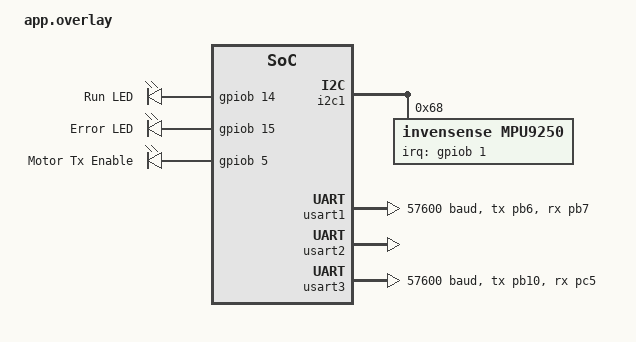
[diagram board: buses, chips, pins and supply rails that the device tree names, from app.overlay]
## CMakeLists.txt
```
cmake_minimum_required(VERSION 3.20.0)
set(BOARD nucleo_f446re)

find_package(Zephyr)
project(doggedness)

file(GLOB DYNAMIXEL src/dynamixel_sdk/*.cpp)
file(GLOB SRC src/*.cpp)
target_sources(app PRIVATE src/main.c  ${DYNAMIXEL} ${SRC})
set(gen_dir ${ZEPHYR_BINARY_DIR}/include/generated/)
```

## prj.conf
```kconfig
# language and library 
CONFIG_NEWLIB_LIBC=y
CONFIG_NEWLIB_LIBC_FLOAT_PRINTF=y
CONFIG_CPLUSPLUS=y
CONFIG_LIB_CPLUSPLUS=y
CONFIG_CBPRINTF_FP_SUPPORT=y

# Logging conf
CONFIG_LOG=y
CONFIG_LOG_MODE_DEFERRED=y
CONFIG_LOG_FUNC_NAME_PREFIX_DBG=y
CONFIG_LOG_FUNC_NAME_PREFIX_ERR=y
CONFIG_LOG_FUNC_NAME_PREFIX_WRN=y

# Console
CONFIG_UART_CONSOLE=y

# Memory
CONFIG_INIT_STACKS=y
CONFIG_MAIN_STACK_SIZE=4096
CONFIG_CODE_DATA_RELOCATION=n

# Kernel
CONFIG_REBOOT=y
CONFIG_EVENTS=y
CONFIG_RING_BUFFER=y

# Sensor 
CONFIG_I2C=y
CONFIG_SENSOR=y
CONFIG_MPU9250=y

# UART
CONFIG_SERIAL=y
CONFIG_UART_USE_RUNTIME_CONFIGURE=y
CONFIG_DMA=y
CONFIG_UART_ASYNC_API=y
```

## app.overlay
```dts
&dma1 {
    status="okay";
};

&dma2 {
    status="okay";
};

&i2c1 {
    status = "okay";
    
    mpu9250@68 {
        compatible = "invensense,mpu9250";
        reg = <0x68>;
        irq-gpios = <&gpiob 1 GPIO_ACTIVE_HIGH>;
        status = "okay";
        gyro-sr-div = <0>;
        gyro-dlpf = <250>;
        gyro-fs = <250>;
        accel-fs = <2>;
        accel-dlpf = "99";
    };
};

&usart1 {
    status = "okay";
    pinctrl-0 = <&usart1_tx_pb6 &usart1_rx_pb7>;
	pinctrl-names = "default";
    current-speed = <57600>;
    dmas = <&dma2 2 4 0x20480 0x03>;
    dma-names = "rx";
};

&usart2 {
    status = "okay";
    dmas = <&dma1 5 4 0x20480 0x03>;
    dma-names = "rx";
};

&usart3 {
    status = "okay";
	pinctrl-0 = <&usart3_tx_pb10 &usart3_rx_pc5>;
	pinctrl-names = "default";
    current-speed = <57600>;
};

&can1 {
	pinctrl-0 = <&can1_rx_pa11 &can1_tx_pa12>;
	pinctrl-names = "default";
	bus-speed = <125000>;
	status = "disabled";
};

/ {
    leds {
        compatible = "gpio-leds";
        run_led: led_pd1 {
            gpios = <&gpiob 14 GPIO_ACTIVE_HIGH>;
            label = "Run LED";
        };
        err_led: led_pd0 {
            gpios = <&gpiob 15 GPIO_ACTIVE_HIGH>;
            label = "Error LED";
        };
        motor_tx_enable: led_pb5 {
            gpios = <&gpiob 5 (GPIO_ACTIVE_HIGH | GPIO_OPEN_DRAIN)>;
            label = "Motor Tx Enable";
        };
    };
};
```

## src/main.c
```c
#include <zephyr/kernel.h>

#include "../inc/app_main.h"

void main(void)
{
    AppMain();
}
```

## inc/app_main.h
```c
#ifndef DOGGEDNESS_APP_MAIN
#define DOGGEDNESS_APP_MAIN

#ifdef __cplusplus
extern "C" {
#endif

void AppMain(void);

#ifdef __cplusplus
}
#endif

#endif
```

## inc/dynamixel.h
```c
#ifndef DOGGEDNESS_DYNAMIXEL_CONTROLLER
#define DOGGEDNESS_DYNAMIXEL_CONTROLLER

#include "dynamixel_sdk/dynamixel_sdk.h"

namespace Doggedness {
class DynamixelController {
 public:
  enum class OperatingModeValue : uint8_t {
    Current = 0,
    Velocity = 1,
    Position = 3,
    ExtendedPosition = 4,
    CurrentPosition = 5,
    PWM = 16,
  };

  enum Address : uint16_t {
    ID = 7,
    OperatingMode = 11,
    TorqueEnable = 64,
    GoalPosition = 116,
  };

  DynamixelController(dynamixel::PortHandler*, dynamixel::PacketHandler*);
  int SetOperatingMode(uint8_t id, OperatingModeValue mode);
  int SetTorque(uint8_t id, bool enable);
  int SetGoalPosition(uint8_t id, double degree);
  int SetID(uint8_t origin, uint8_t target);

 private:
  dynamixel::PortHandler* port_handler_;
  dynamixel::PacketHandler* packet_handler_;
  void LogError(int comm_ret, uint8_t motor_err);
};
};  // namespace Doggedness

#endif
```

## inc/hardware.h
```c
#ifndef DOGGEDNESS_HARDWARE
#define DOGGEDNESS_HARDWARE

/* zephyr device and driver */
#include <zephyr/device.h>
#include <zephyr/drivers/gpio.h>
#include <zephyr/drivers/sensor.h>
#include <zephyr/sys/ring_buffer.h>

/* std headers */
#include <array>

namespace Doggedness {
namespace hardware {

extern const struct gpio_dt_spec run_led, err_led, tx_enable;
extern const struct device *imu, *motor_uart, *telemetry_uart, *console_uart;
extern struct ring_buf jetson_uart_rx_buf;

int CheckHardware();
int InitHardware();
int ReadIMU(std::array<double, 3> &accel, std::array<double, 3> &gyro, std::array<double, 3> &magn);

};  // namespace hardware
};  // namespace Doggedness

#endif
```

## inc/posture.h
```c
#ifndef DOGGEDNESS_POSTURE
#define DOGGEDNESS_POSTURES

#include <array>

//=====================================================================================================
// MahonyAHRS is from below with GPLv2
//=====================================================================================================
//
// Madgwick's implementation of Mayhony's AHRS algorithm.
// See: http://www.x-io.co.uk/open_source_ahrs_and_imu_algorithms
//
// Date			Author			Notes
// 29/09/2011	SOH Madgwick    Initial release
// 02/10/2011	SOH Madgwick	Optimised for reduced CPU load
//
//=====================================================================================================

namespace Doggedness {
namespace posture {
class MahonyAHRS {
 private:
  float dt_;
  float twoKp_, twoKi_;  // 2 * P, I gain
  std::array<float, 4> q_;  // quaternion of sensor frame relative to auxiliary frame
  std::array<float, 3> integralFB_;  // integral error terms scaled by Ki
  static float invSqrt(float x);

 public:
  MahonyAHRS(float dt, float Kp = 0.5, float Ki = 0.0);
  void Update(float gx, float gy, float gz, float ax, float ay, float az);
  void Update(float gx, float gy, float gz, float ax, float ay, float az,
              float mx, float my, float mz);
  std::array<float, 4> GetQuaternion();
  std::array<double, 3> GetEuler();
};
};  // namespace posture
};  // namespace RbfpidBalbot

#endif
```

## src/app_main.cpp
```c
#include "../inc/app_main.h"

#include <stdio.h>
#include <stdlib.h>
#include <zephyr/drivers/uart.h>
#include <zephyr/kernel.h>
#include <zephyr/logging/log.h>
#include <zephyr/sys/ring_buffer.h>

#include <vector>

#include "../inc/posture.h"
#include "../inc/dynamixel.h"
#include "../inc/dynamixel_sdk/dynamixel_sdk.h"
#include "../inc/hardware.h"


LOG_MODULE_REGISTER(app_main);

using namespace Doggedness;

void threadJetsonDataParseLoop(void *, void *, void *);
void threadJetsonAngleTransmitLoop(void *, void *, void *);

struct k_thread jetson_parse_thread_data;
K_THREAD_STACK_DEFINE(jetson_parse, 1024);

struct k_thread jetson_transmit_thread_data;
K_THREAD_STACK_DEFINE(jetson_transmit, 1024);

void AppMain(void) {
  int ret;

  LOG_INF("hardware initialization start");
  if (ret = hardware::CheckHardware(); ret < 0) {
    LOG_ERR("fail to check hardware, ret=%d", ret);
    gpio_pin_set_dt(&hardware::err_led, 1);
    return;
  }
  if (ret = hardware::InitHardware(); ret < 0) {
    LOG_ERR("fail to initiate hardware, ret=%d", ret);
    gpio_pin_set_dt(&hardware::err_led, 1);
    return;
  }
  LOG_INF("hardware initialization complete");

  /* application logic */
  LOG_INF("application started");
  LOG_INF("Doggedness firmware");

  k_thread_create(&jetson_parse_thread_data, jetson_parse,
                  K_THREAD_STACK_SIZEOF(jetson_parse),
                  threadJetsonDataParseLoop, NULL, NULL, NULL, 10, 0,
                  K_NO_WAIT);
  k_thread_create(&jetson_transmit_thread_data, jetson_transmit,
                  K_THREAD_STACK_SIZEOF(jetson_transmit),
                  threadJetsonAngleTransmitLoop, NULL, NULL, NULL, 10, 0,
                  K_NO_WAIT);

  dynamixel::PortHandler *portHandler =
      dynamixel::PortHandler::getPortHandler("");
  dynamixel::PacketHandler *packetHandler =
      dynamixel::PacketHandler::getPacketHandler();
  DynamixelController controller(portHandler, packetHandler);

  portHandler->openPort();
  int dxl_comm_result;
  uint8_t dxl_error;

  k_sleep(K_MSEC(500));

  std::vector<uint8_t> found_id;
  dxl_comm_result = packetHandler->broadcastPing(portHandler, found_id);
  if (dxl_comm_result != COMM_SUCCESS) {
    LOG_ERR("failed to communicate with motor : %d", dxl_comm_result);
  }
  LOG_INF("%d motors found", found_id.size());
  for (const auto id : found_id) {
    LOG_INF("motor id : %d", id);
  }

  controller.SetID(1, 8);

  for (;;) {
    gpio_pin_toggle_dt(&hardware::run_led);
    k_sleep(K_MSEC(1000));
  }
}

void threadJetsonAngleTransmitLoop(void *, void *, void *) {
  std::array<double, 3U> acc, gyro, mag;
  std::array<double, 3U> euler;
  const float dt = 0.1;
  posture::MahonyAHRS mahony(dt);

  int ret;

  char sentence[50];

  for (;;) {
    ret = hardware::ReadIMU(acc, gyro, mag);
    if (ret < 0) {
      LOG_ERR("failed to read imu : %d", ret);
    }

    mahony.Update(gyro[0], gyro[1], gyro[2], acc[0], acc[1], acc[2]);
    euler = mahony.GetEuler();
    sprintf(sentence, "%f,%f,%f\n", euler[0], euler[1], euler[2]);

    for (int i = 0; i < strlen(sentence); i++) {
      uart_poll_out(hardware::console_uart, sentence[i]);
    }

    k_sleep(K_MSEC(dt * 1000));
  }
}

void threadJetsonDataParseLoop(void *, void *, void *) {
  char tmp[128], sentence[129];
  int tmp_cnt = 0;
  bool line_found = false;
  int line_end = 0;
  double angles[8];

  memset(tmp, 0, sizeof(tmp));
  for (;;) {
    if (ring_buf_size_get(&hardware::jetson_uart_rx_buf) > 0) {
      tmp_cnt += ring_buf_get(&hardware::jetson_uart_rx_buf,
                              (uint8_t *)tmp + tmp_cnt, sizeof(tmp) - tmp_cnt);

      LOG_INF("tmp_cnt : %d", tmp_cnt);
      for (int i = 0; i < tmp_cnt; i++) {
        if (tmp[i] == '\n') {
          line_found = true;
          line_end = i;
          break;
        }
      }

      if (line_found) {
        memcpy(sentence, tmp, line_end + 1);
        sentence[line_end + 1] = 0;
        LOG_DBG("found : %s", sentence);

        char *ptr = strtok(sentence, ",");
        int tok_cnt = 0;
        while (ptr != NULL) {
          LOG_DBG("tok : %s", ptr);
          angles[tok_cnt] = atof(ptr);
          ptr = strtok(NULL, ",");
          tok_cnt++;
        }
        if (tok_cnt != 8) {
          LOG_ERR("invalid tok cnt! : %d", tok_cnt);
        } else {
          for (int i = 0; i < 8; i++) {
            LOG_INF("set motor %d to %f", i, angles[i]);
          }
        }

        if (line_end + 1 >= tmp_cnt) {
          memcpy(tmp, tmp + tmp_cnt, tmp_cnt - line_end - 1);
          tmp_cnt -= (line_end + 1);
        }
      } else {
        if (tmp_cnt >= sizeof(tmp)) {
          tmp_cnt = 0;
        }
      }
    }
    k_sleep(K_MSEC(5));
  }
}
```

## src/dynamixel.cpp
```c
#include "../inc/dynamixel.h"

#include <zephyr/logging/log.h>

using namespace Doggedness;

LOG_MODULE_REGISTER(dynamixel_controller);

DynamixelController::DynamixelController(dynamixel::PortHandler* port,
                                         dynamixel::PacketHandler* packet)
    : port_handler_(port), packet_handler_(packet) {}

void DynamixelController::LogError(int comm_ret, uint8_t motor_err) {
  LOG_ERR("failed to comm with motor: comm=%d motor=%d", comm_ret, motor_err);
}

int DynamixelController::SetTorque(uint8_t id, bool enable) {
  int cret;
  uint8_t dret;

  cret = packet_handler_->write1ByteTxRx(
      port_handler_, id, Address::TorqueEnable, enable ? 1 : 0, &dret);
  if (cret != COMM_SUCCESS) LogError(cret, dret);
  return cret;
}

int DynamixelController::SetGoalPosition(uint8_t id, double degree) {
  int cret;
  uint8_t dret;

  cret =
      packet_handler_->write4ByteTxRx(port_handler_, id, Address::GoalPosition,
                                      (uint32_t)(degree / 0.088F), &dret);
  if (cret != COMM_SUCCESS) LogError(cret, dret);
  return cret;
}

int DynamixelController::SetID(uint8_t origin, uint8_t target) {
  int cret;
  uint8_t dret;

  cret = packet_handler_->write1ByteTxRx(port_handler_, origin, Address::ID,
                                         target, &dret);
  if (cret != COMM_SUCCESS) LogError(cret, dret);
  return cret;
}

int DynamixelController::SetOperatingMode(uint8_t id, OperatingModeValue mode) {
  int cret;
  uint8_t dret;

  cret = packet_handler_->write1ByteTxRx(port_handler_, id, Address::OperatingMode,
                                         (uint8_t)mode, &dret);
  if (cret != COMM_SUCCESS) LogError(cret, dret);
  return cret;
}
```

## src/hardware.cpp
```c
#include "../inc/hardware.h"

#include <errno.h>
#include <stdint.h>
#include <zephyr/drivers/uart.h>
#include <zephyr/logging/log.h>

#include <cmath>
#include <vector>

LOG_MODULE_REGISTER(hardware);

using namespace Doggedness;

const struct gpio_dt_spec hardware::run_led =
    GPIO_DT_SPEC_GET(DT_NODELABEL(run_led), gpios);
const struct gpio_dt_spec hardware::err_led =
    GPIO_DT_SPEC_GET(DT_NODELABEL(err_led), gpios);
const struct gpio_dt_spec hardware::tx_enable =
    GPIO_DT_SPEC_GET(DT_NODELABEL(motor_tx_enable), gpios);

const struct device *hardware::imu = DEVICE_DT_GET_ONE(invensense_mpu9250);

const struct device *hardware::motor_uart = DEVICE_DT_GET(DT_NODELABEL(usart1));
const struct device *hardware::console_uart =
    DEVICE_DT_GET(DT_NODELABEL(usart2));
const struct device *hardware::telemetry_uart =
    DEVICE_DT_GET(DT_NODELABEL(usart3));

uint8_t jetson_uart_rx_dma_buf[64];
struct ring_buf hardware::jetson_uart_rx_buf;
uint8_t jetson_uart_rx_buf_data[512];

int hardware::CheckHardware() {
  std::vector<const device *> check_list = {run_led.port,   err_led.port,
                                            tx_enable.port, motor_uart,
                                            telemetry_uart, console_uart, imu};

  for (const auto l : check_list) {
    if (l == NULL) return -EINVAL;
    if (!device_is_ready(l)) return -ENODEV;
  }
  return 0;
}

void JetsonUartRxCallback(const struct device *dev, struct uart_event *evt,
                          void *user_data) {
  switch (evt->type) {
    case UART_RX_RDY:
      LOG_DBG("%d bytes recieved", evt->data.rx.len);
      ring_buf_put(&hardware::jetson_uart_rx_buf, evt->data.rx.buf + evt->data.rx.offset,
                   evt->data.rx.len);
      break;
    case UART_RX_DISABLED:
      uart_rx_enable(dev, jetson_uart_rx_dma_buf,
                     sizeof(jetson_uart_rx_dma_buf), 5);
      break;
    case UART_RX_STOPPED:
      LOG_ERR("uart rx dma is unexpectly stopped : %d",
              evt->data.rx_stop.reason);
      break;
  }
}

int hardware::InitHardware() {
  gpio_pin_configure_dt(&hardware::run_led, GPIO_OUTPUT);
  gpio_pin_configure_dt(&hardware::err_led, GPIO_OUTPUT);
  gpio_pin_configure_dt(&hardware::tx_enable, GPIO_OUTPUT);

  int ret;
  ring_buf_init(&jetson_uart_rx_buf, sizeof(jetson_uart_rx_buf_data),
                jetson_uart_rx_buf_data);
  ret = uart_rx_enable(console_uart, jetson_uart_rx_dma_buf,
                       sizeof(jetson_uart_rx_buf), 5);
  if (ret < 0) return ret;
  ret = uart_callback_set(console_uart, JetsonUartRxCallback, NULL);
  if (ret < 0) return ret;

  return 0;
}

int hardware::ReadIMU(std::array<double, 3> &accel, std::array<double, 3> &gyro,
                      std::array<double, 3> &magn) {
  struct sensor_value tmp_a[3], tmp_g[3], tmp_m[3];
  int rc = sensor_sample_fetch(hardware::imu);

  if (rc == 0) {
    rc = sensor_channel_get(hardware::imu, SENSOR_CHAN_ACCEL_XYZ, tmp_a);
  }
  if (rc == 0) {
    rc = sensor_channel_get(hardware::imu, SENSOR_CHAN_GYRO_XYZ, tmp_g);
  }
  if (rc == 0) {
    rc = sensor_channel_get(hardware::imu, SENSOR_CHAN_MAGN_XYZ, tmp_m);
  }
  if (rc == 0) {
    for (int i = 0; i < 3; i++) {
      accel[i] = sensor_value_to_double(&tmp_a[i]);
      gyro[i] = sensor_value_to_double(&tmp_g[i]);
      magn[i] = sensor_value_to_double(&tmp_m[i]);
    }
  } else {
    LOG_ERR("sample fetch/get failed: %d\n", rc);
  }
  return rc;
}
```

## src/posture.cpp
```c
#include "../inc/posture.h"

#include <zephyr/logging/log.h>

#include <cmath>

LOG_MODULE_REGISTER(posture);

using namespace std;
using namespace Doggedness;
using namespace Doggedness::posture;

MahonyAHRS::MahonyAHRS(float dt, float Kp, float Ki)
    : dt_(dt),
      twoKp_(2 * Kp),
      twoKi_(2 * Ki),
      integralFB_({0.0, 0.0, 0.0}),
      q_({1.0, 0.0, 0.0, 0.0}) {}

void MahonyAHRS::Update(float gx, float gy, float gz, float ax, float ay,
                        float az) {
  float recipNorm;
  float halfvx, halfvy, halfvz;
  float halfex, halfey, halfez;
  float qa, qb, qc;

  // Compute feedback only if accelerometer measurement valid (avoids NaN in
  // accelerometer normalisation)
  if (!((ax == 0.0f) && (ay == 0.0f) && (az == 0.0f))) {
    // Normalise accelerometer measurement
    recipNorm = invSqrt(ax * ax + ay * ay + az * az);
    ax *= recipNorm;
    ay *= recipNorm;
    az *= recipNorm;

    // Estimated direction of gravity and vector perpendicular to magnetic flux
    halfvx = q_[1] * q_[3] - q_[0] * q_[2];
    halfvy = q_[0] * q_[1] + q_[2] * q_[3];
    halfvz = q_[0] * q_[0] - 0.5f + q_[3] * q_[3];

    // Error is sum of cross product between estimated and measured direction of
    // gravity
    halfex = (ay * halfvz - az * halfvy);
    halfey = (az * halfvx - ax * halfvz);
    halfez = (ax * halfvy - ay * halfvx);

    // Compute and apply integral feedback if enabled
    if (twoKi_ > 0.0f) {
      integralFB_[0] += twoKi_ * halfex * dt_;  // integral error scaled by Ki
      integralFB_[1] += twoKi_ * halfey * dt_;
      integralFB_[2] += twoKi_ * halfez * dt_;
      gx += integralFB_[0];  // apply integral feedback
      gy += integralFB_[1];
      gz += integralFB_[2];
    } else {
      integralFB_[0] = 0.0f;  // prevent integral windup
      integralFB_[1] = 0.0f;
      integralFB_[2] = 0.0f;
    }

    // Apply proportional feedback
    gx += twoKp_ * halfex;
    gy += twoKp_ * halfey;
    gz += twoKp_ * halfez;
  }

  // Integrate rate of change of quaternion
  gx *= (0.5f * dt_);  // pre-multiply common factors
  gy *= (0.5f * dt_);
  gz *= (0.5f * dt_);
  qa = q_[0];
  qb = q_[1];
  qc = q_[2];
  q_[0] += (-qb * gx - qc * gy - q_[3] * gz);
  q_[1] += (qa * gx + qc * gz - q_[3] * gy);
  q_[2] += (qa * gy - qb * gz + q_[3] * gx);
  q_[3] += (qa * gz + qb * gy - qc * gx);

  // Normalise quaternion
  recipNorm =
      invSqrt(q_[0] * q_[0] + q_[1] * q_[1] + q_[2] * q_[2] + q_[3] * q_[3]);
  q_[0] *= recipNorm;
  q_[1] *= recipNorm;
  q_[2] *= recipNorm;
  q_[3] *= recipNorm;
}

void MahonyAHRS::Update(float gx, float gy, float gz, float ax, float ay,
                        float az, float mx, float my, float mz) {
  float recipNorm;
  float q0q0, q0q1, q0q2, q0q3, q1q1, q1q2, q1q3, q2q2, q2q3, q3q3;
  float hx, hy, bx, bz;
  float halfvx, halfvy, halfvz, halfwx, halfwy, halfwz;
  float halfex, halfey, halfez;
  float qa, qb, qc;

  // Use IMU algorithm if magnetometer measurement invalid (avoids NaN in
  // magnetometer normalisation)
  if ((mx == 0.0f) && (my == 0.0f) && (mz == 0.0f)) {
    Update(gx, gy, gz, ax, ay, az);
    return;
  }

  // Compute feedback only if accelerometer measurement valid (avoids NaN in
  // accelerometer normalisation)
  if (!((ax == 0.0f) && (ay == 0.0f) && (az == 0.0f))) {
    // Normalise accelerometer measurement
    recipNorm = invSqrt(ax * ax + ay * ay + az * az);
    ax *= recipNorm;
    ay *= recipNorm;
    az *= recipNorm;

    // Normalise magnetometer measurement
    recipNorm = invSqrt(mx * mx + my * my + mz * mz);
    mx *= recipNorm;
    my *= recipNorm;
    mz *= recipNorm;

    // Auxiliary variables to avoid repeated arithmetic
    q0q0 = q_[0] * q_[0];
    q0q1 = q_[0] * q_[1];
    q0q2 = q_[0] * q_[2];
    q0q3 = q_[0] * q_[3];
    q1q1 = q_[1] * q_[1];
    q1q2 = q_[1] * q_[2];
    q1q3 = q_[1] * q_[3];
    q2q2 = q_[2] * q_[2];
    q2q3 = q_[2] * q_[3];
    q3q3 = q_[3] * q_[3];

    // Reference direction of Earth's magnetic field
    hx = 2.0f *
         (mx * (0.5f - q2q2 - q3q3) + my * (q1q2 - q0q3) + mz * (q1q3 + q0q2));
    hy = 2.0f *
         (mx * (q1q2 + q0q3) + my * (0.5f - q1q1 - q3q3) + mz * (q2q3 - q0q1));
    bx = sqrt(hx * hx + hy * hy);
    bz = 2.0f *
         (mx * (q1q3 - q0q2) + my * (q2q3 + q0q1) + mz * (0.5f - q1q1 - q2q2));

    // Estimated direction of gravity and magnetic field
    halfvx = q1q3 - q0q2;
    halfvy = q0q1 + q2q3;
    halfvz = q0q0 - 0.5f + q3q3;
    halfwx = bx * (0.5f - q2q2 - q3q3) + bz * (q1q3 - q0q2);
    halfwy = bx * (q1q2 - q0q3) + bz * (q0q1 + q2q3);
    halfwz = bx * (q0q2 + q1q3) + bz * (0.5f - q1q1 - q2q2);

    // Error is sum of cross product between estimated direction and measured
    // direction of field vectors
    halfex = (ay * halfvz - az * halfvy) + (my * halfwz - mz * halfwy);
    halfey = (az * halfvx - ax * halfvz) + (mz * halfwx - mx * halfwz);
    halfez = (ax * halfvy - ay * halfvx) + (mx * halfwy - my * halfwx);

    // Compute and apply integral feedback if enabled
    if (twoKi_ > 0.0f) {
      integralFB_[0] += twoKi_ * halfex * dt_;  // integral error scaled by Ki
      integralFB_[1] += twoKi_ * halfey * dt_;
      integralFB_[2] += twoKi_ * halfez * dt_;
      gx += integralFB_[0];  // apply integral feedback
      gy += integralFB_[1];
      gz += integralFB_[2];
    } else {
      integralFB_[0] = 0.0f;  // prevent integral windup
      integralFB_[1] = 0.0f;
      integralFB_[2] = 0.0f;
    }

    // Apply proportional feedback
    gx += twoKp_ * halfex;
    gy += twoKp_ * halfey;
    gz += twoKp_ * halfez;
  }

  // Integrate rate of change of quaternion
  gx *= (0.5f * dt_);  // pre-multiply common factors
  gy *= (0.5f * dt_);
  gz *= (0.5f * dt_);
  qa = q_[0];
  qb = q_[1];
  qc = q_[2];
  q_[0] += (-qb * gx - qc * gy - q_[3] * gz);
  q_[1] += (qa * gx + qc * gz - q_[3] * gy);
  q_[2] += (qa * gy - qb * gz + q_[3] * gx);
  q_[3] += (qa * gz + qb * gy - qc * gx);

  // Normalise quaternion
  recipNorm =
      invSqrt(q_[0] * q_[0] + q_[1] * q_[1] + q_[2] * q_[2] + q_[3] * q_[3]);
  q_[0] *= recipNorm;
  q_[1] *= recipNorm;
  q_[2] *= recipNorm;
  q_[3] *= recipNorm;
}

float MahonyAHRS::invSqrt(float x) {
  float halfx = 0.5f * x;
  float y = x;
  long i = *(long*)&y;
  i = 0x5f3759df - (i >> 1);
  y = *(float*)&i;
  y = y * (1.5f - (halfx * y * y));
  return y;
}

array<float, 4> MahonyAHRS::GetQuaternion() { return q_; }

// from :
// https://github.com/brztitouan/euler-angles-quaternions-library-conversion/blob/fa075d741d6aa84c02a3052d61116e04e5ec7943/src/euler.cpp#L30
// TODO : Update LICENSE about it
array<double, 3> MahonyAHRS::GetEuler() {
  const double q00 = q_[0] * q_[0];
  const double q11 = q_[1] * q_[1];
  const double q22 = q_[2] * q_[2];
  const double q33 = q_[3] * q_[3];
  const double unitLength =
      q00 + q11 + q22 + q33;  // Normalised == 1, otherwise correction divisor.
  const double abcd = q_[0] * q_[1] + q_[2] * q_[3];
  const double eps =
      1e-7;  // TODO: pick from your math lib instead of hardcoding.
  const double pi = 3.14159265358979323846;  // TODO: pick from your math lib
                                             // instead of hardcoding.
  double yaw, pitch, roll;
  if (abcd > (0.5 - eps) * unitLength) {
    yaw = 2 * atan2(q_[2], q_[0]);
    pitch = pi;
    roll = 0;
  } else if (abcd < (-0.5 + eps) * unitLength) {
    yaw = -2 * ::atan2(q_[2], q_[0]);
    pitch = -pi;
    roll = 0;
  } else {
    const double adbc = q_[0] * q_[3] - q_[1] * q_[2];
    const double acbd = q_[0] * q_[2] - q_[1] * q_[3];
    yaw = ::atan2(2 * adbc, 1 - 2 * (q33 + q11));
    pitch = ::asin(2 * abcd / unitLength);
    roll = ::atan2(2 * acbd, 1 - 2 * (q22 + q11));
  }

  return std::array<double, 3> {pitch, roll, yaw};
}
```
